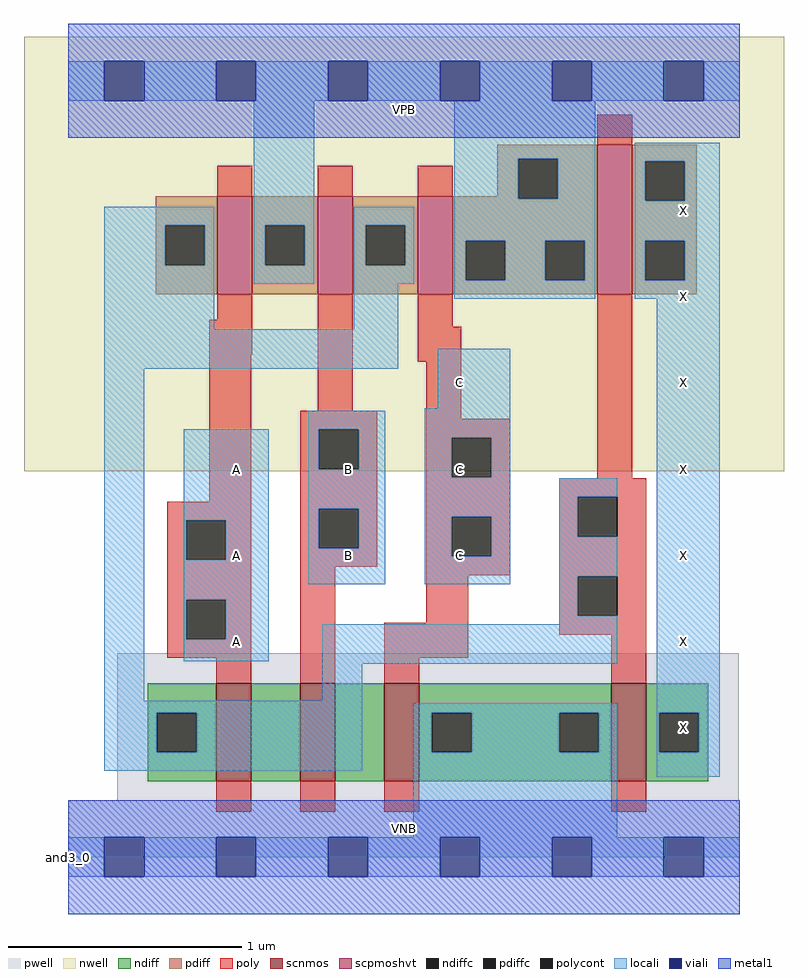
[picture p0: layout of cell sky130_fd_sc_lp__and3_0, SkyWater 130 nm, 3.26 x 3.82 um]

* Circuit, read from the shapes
.subckt sky130_fd_sc_lp__and3_0 A B C VGND VNB VPB VPWR X
XM1 n1 A n2 VNB sky130_fd_pr__nfet_01v8 w=0.42 l=0.15
XM2 n3 B n1 VNB sky130_fd_pr__nfet_01v8 w=0.42 l=0.15
XM3 VGND C n3 VNB sky130_fd_pr__nfet_01v8 w=0.42 l=0.15
XM4 X n2 VGND VNB sky130_fd_pr__nfet_01v8 w=0.42 l=0.15
XM5 VPWR A n2 VPB sky130_fd_pr__pfet_01v8_hvt w=0.42 l=0.15
XM6 n2 B VPWR VPB sky130_fd_pr__pfet_01v8_hvt w=0.42 l=0.15
XM7 VPWR C n2 VPB sky130_fd_pr__pfet_01v8_hvt w=0.42 l=0.15
XM8 X n2 VPWR VPB sky130_fd_pr__pfet_01v8_hvt w=0.64 l=0.15
.ends

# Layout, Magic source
magic
tech sky130A
magscale 1 2
<< nwell >>
rect -38 331 614 704
<< pwell >>
rect 42 49 575 175
rect 0 0 576 49
<< scnmos >>
rect 127 65 157 149
rect 199 65 229 149
rect 271 65 301 149
rect 466 65 496 149
<< scpmoshvt >>
rect 128 483 158 567
rect 214 483 244 567
rect 300 483 330 567
rect 454 483 484 611
<< ndiff >>
rect 68 124 127 149
rect 68 90 76 124
rect 110 90 127 124
rect 68 65 127 90
rect 157 65 199 149
rect 229 65 271 149
rect 301 124 466 149
rect 301 90 312 124
rect 346 90 421 124
rect 455 90 466 124
rect 301 65 466 90
rect 496 124 549 149
rect 496 90 507 124
rect 541 90 549 124
rect 496 65 549 90
<< pdiff >>
rect 368 599 454 611
rect 368 567 386 599
rect 75 542 128 567
rect 75 508 83 542
rect 117 508 128 542
rect 75 483 128 508
rect 158 542 214 567
rect 158 508 169 542
rect 203 508 214 542
rect 158 483 214 508
rect 244 542 300 567
rect 244 508 255 542
rect 289 508 300 542
rect 244 483 300 508
rect 330 565 386 567
rect 420 565 454 599
rect 330 529 454 565
rect 330 495 341 529
rect 375 495 409 529
rect 443 495 454 529
rect 330 483 454 495
rect 484 597 539 611
rect 484 563 495 597
rect 529 563 539 597
rect 484 529 539 563
rect 484 495 495 529
rect 529 495 539 529
rect 484 483 539 495
<< ndiffc >>
rect 76 90 110 124
rect 312 90 346 124
rect 421 90 455 124
rect 507 90 541 124
<< pdiffc >>
rect 83 508 117 542
rect 169 508 203 542
rect 255 508 289 542
rect 386 565 420 599
rect 341 495 375 529
rect 409 495 443 529
rect 495 563 529 597
rect 495 495 529 529
<< poly >>
rect 454 611 484 637
rect 128 567 158 593
rect 214 567 244 593
rect 300 567 330 593
rect 128 461 158 483
rect 121 431 158 461
rect 121 305 157 431
rect 214 383 244 483
rect 300 455 330 483
rect 300 425 337 455
rect 85 289 157 305
rect 85 255 101 289
rect 135 255 157 289
rect 85 221 157 255
rect 85 187 101 221
rect 135 187 157 221
rect 85 171 157 187
rect 127 149 157 171
rect 199 367 265 383
rect 199 333 215 367
rect 249 333 265 367
rect 199 299 265 333
rect 199 265 215 299
rect 249 265 265 299
rect 199 249 265 265
rect 307 376 337 425
rect 307 360 379 376
rect 307 326 329 360
rect 363 326 379 360
rect 307 292 379 326
rect 454 325 484 483
rect 307 258 329 292
rect 363 258 379 292
rect 199 149 229 249
rect 307 242 379 258
rect 421 309 496 325
rect 421 275 437 309
rect 471 275 496 309
rect 307 201 343 242
rect 271 171 343 201
rect 421 241 496 275
rect 421 207 437 241
rect 471 207 496 241
rect 421 191 496 207
rect 271 149 301 171
rect 466 149 496 191
rect 127 39 157 65
rect 199 39 229 65
rect 271 39 301 65
rect 466 39 496 65
<< polycont >>
rect 101 255 135 289
rect 101 187 135 221
rect 215 333 249 367
rect 215 265 249 299
rect 329 326 363 360
rect 329 258 363 292
rect 437 275 471 309
rect 437 207 471 241
<< locali >>
rect 0 649 31 683
rect 65 649 127 683
rect 161 649 223 683
rect 257 649 319 683
rect 353 649 415 683
rect 449 649 511 683
rect 545 649 576 683
rect 31 542 125 558
rect 31 508 83 542
rect 117 508 125 542
rect 31 453 125 508
rect 159 542 211 649
rect 331 599 452 649
rect 331 565 386 599
rect 420 565 452 599
rect 159 508 169 542
rect 203 508 211 542
rect 159 492 211 508
rect 245 542 297 558
rect 245 508 255 542
rect 289 508 297 542
rect 245 492 297 508
rect 331 529 452 565
rect 331 495 341 529
rect 375 495 409 529
rect 443 495 452 529
rect 245 453 283 492
rect 331 479 452 495
rect 486 597 559 613
rect 486 563 495 597
rect 529 563 559 597
rect 486 529 559 563
rect 486 495 495 529
rect 529 495 559 529
rect 486 479 559 495
rect 31 419 283 453
rect 31 134 65 419
rect 317 385 379 436
rect 206 367 272 383
rect 99 289 172 367
rect 99 255 101 289
rect 135 255 172 289
rect 99 221 172 255
rect 206 333 215 367
rect 249 333 272 367
rect 206 299 272 333
rect 206 265 215 299
rect 249 265 272 299
rect 206 234 272 265
rect 306 360 379 385
rect 306 326 329 360
rect 363 326 379 360
rect 306 292 379 326
rect 306 258 329 292
rect 363 258 379 292
rect 306 234 379 258
rect 421 309 471 325
rect 421 275 437 309
rect 421 241 471 275
rect 99 187 101 221
rect 135 187 172 221
rect 421 207 437 241
rect 421 200 471 207
rect 99 168 172 187
rect 218 166 471 200
rect 218 134 252 166
rect 31 124 252 134
rect 31 90 76 124
rect 110 90 252 124
rect 31 74 252 90
rect 296 124 471 132
rect 296 90 312 124
rect 346 90 421 124
rect 455 90 471 124
rect 296 17 471 90
rect 505 124 559 479
rect 505 90 507 124
rect 541 90 559 124
rect 505 69 559 90
rect 0 -17 31 17
rect 65 -17 127 17
rect 161 -17 223 17
rect 257 -17 319 17
rect 353 -17 415 17
rect 449 -17 511 17
rect 545 -17 576 17
<< viali >>
rect 31 649 65 683
rect 127 649 161 683
rect 223 649 257 683
rect 319 649 353 683
rect 415 649 449 683
rect 511 649 545 683
rect 31 -17 65 17
rect 127 -17 161 17
rect 223 -17 257 17
rect 319 -17 353 17
rect 415 -17 449 17
rect 511 -17 545 17
<< metal1 >>
rect 0 683 576 715
rect 0 649 31 683
rect 65 649 127 683
rect 161 649 223 683
rect 257 649 319 683
rect 353 649 415 683
rect 449 649 511 683
rect 545 649 576 683
rect 0 617 576 649
rect 0 17 576 49
rect 0 -17 31 17
rect 65 -17 127 17
rect 161 -17 223 17
rect 257 -17 319 17
rect 353 -17 415 17
rect 449 -17 511 17
rect 545 -17 576 17
rect 0 -49 576 -17
<< labels >>
flabel pwell s 0 0 576 49 0 FreeSans 200 0 0 0 VNB
port 5 nsew ground bidirectional
flabel nwell s 0 617 576 666 0 FreeSans 200 0 0 0 VPB
port 6 nsew power bidirectional
rlabel comment s 0 0 0 0 4 and3_0
flabel metal1 s 0 617 576 666 0 FreeSans 340 0 0 0 VPWR
port 7 nsew power bidirectional
flabel metal1 s 0 0 576 49 0 FreeSans 340 0 0 0 VGND
port 4 nsew ground bidirectional
flabel locali s 127 168 161 202 0 FreeSans 340 0 0 0 A
port 1 nsew signal input
flabel locali s 127 242 161 276 0 FreeSans 340 0 0 0 A
port 1 nsew signal input
flabel locali s 127 316 161 350 0 FreeSans 340 0 0 0 A
port 1 nsew signal input
flabel locali s 223 242 257 276 0 FreeSans 340 0 0 0 B
port 2 nsew signal input
flabel locali s 223 316 257 350 0 FreeSans 340 0 0 0 B
port 2 nsew signal input
flabel locali s 511 94 545 128 0 FreeSans 340 0 0 0 X
port 8 nsew signal output
flabel locali s 511 168 545 202 0 FreeSans 340 0 0 0 X
port 8 nsew signal output
flabel locali s 511 242 545 276 0 FreeSans 340 0 0 0 X
port 8 nsew signal output
flabel locali s 511 316 545 350 0 FreeSans 340 0 0 0 X
port 8 nsew signal output
flabel locali s 511 390 545 424 0 FreeSans 340 0 0 0 X
port 8 nsew signal output
flabel locali s 511 464 545 498 0 FreeSans 340 0 0 0 X
port 8 nsew signal output
flabel locali s 511 538 545 572 0 FreeSans 340 0 0 0 X
port 8 nsew signal output
flabel locali s 319 242 353 276 0 FreeSans 340 0 0 0 C
port 3 nsew signal input
flabel locali s 319 316 353 350 0 FreeSans 340 0 0 0 C
port 3 nsew signal input
flabel locali s 319 390 353 424 0 FreeSans 340 0 0 0 C
port 3 nsew signal input
<< properties >>
string LEFsite unit
string LEFclass CORE
string FIXED_BBOX 0 0 576 666
string GDS_FILE $PDKPATH/libs.ref/sky130_fd_sc_lp/gds/sky130_fd_sc_lp.gds
string LEFsymmetry X Y R90
string GDS_END 5070346
string GDS_START 5063692
<< end >>
